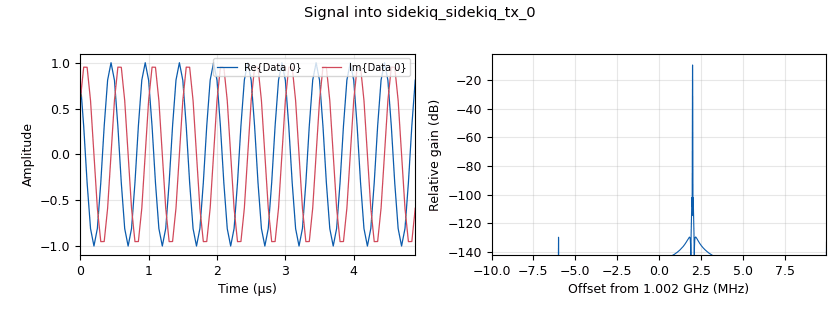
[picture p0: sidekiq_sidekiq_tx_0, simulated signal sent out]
options:
  parameters:
    generate_options: qt_gui
    id: sink_test
    output_language: python
    title: Sink Test
  states: {}

blocks:
- name: attenuation
  id: variable_qtgui_range
  parameters:
    min_len: '100'
    start: '0'
    step: '10'
    stop: '255'
    value: '125'
  states: {}
- name: bandwidth
  id: variable
  parameters:
    value: samp_rate *.8
  states: {}
- name: frequency
  id: variable_qtgui_range
  parameters:
    label: Frequency
    min_len: '100'
    start: 500e6
    step: 1e6
    stop: 6000e6
    value: 1002e6
  states: {}
- name: min_output_buffer
  id: variable
  parameters:
    value: 32764 *2*2
  states: {}
- name: samp_rate
  id: variable
  parameters:
    value: 20e6
  states: {}
- name: analog_sig_source_x_0
  id: analog_sig_source_x
  parameters:
    amp: '1'
    freq: 2e6
    minoutbuf: min_output_buffer
    offset: '0'
    phase: '0'
    samp_rate: samp_rate
    type: complex
    waveform: analog.GR_COS_WAVE
  states: {}
- name: blocks_throttle_0
  id: blocks_throttle
  parameters:
    minoutbuf: min_output_buffer
    samples_per_second: samp_rate
    type: complex
  states: {}
- name: sidekiq_sidekiq_tx_0
  id: sidekiq_sidekiq_tx
  parameters:
    attenuation: attenuation
    bandwidth: bandwidth
    buffer_size: '8188'
    card: '1'
    frequency: frequency
    handle: '0'
    sample_rate: samp_rate
    threads: '4'
  states: {}

connections:
- [analog_sig_source_x_0, '0', blocks_throttle_0, '0']
- [blocks_throttle_0, '0', sidekiq_sidekiq_tx_0, '0']

metadata:
  file_format: 1
  grc_version: 3.10.3.0
